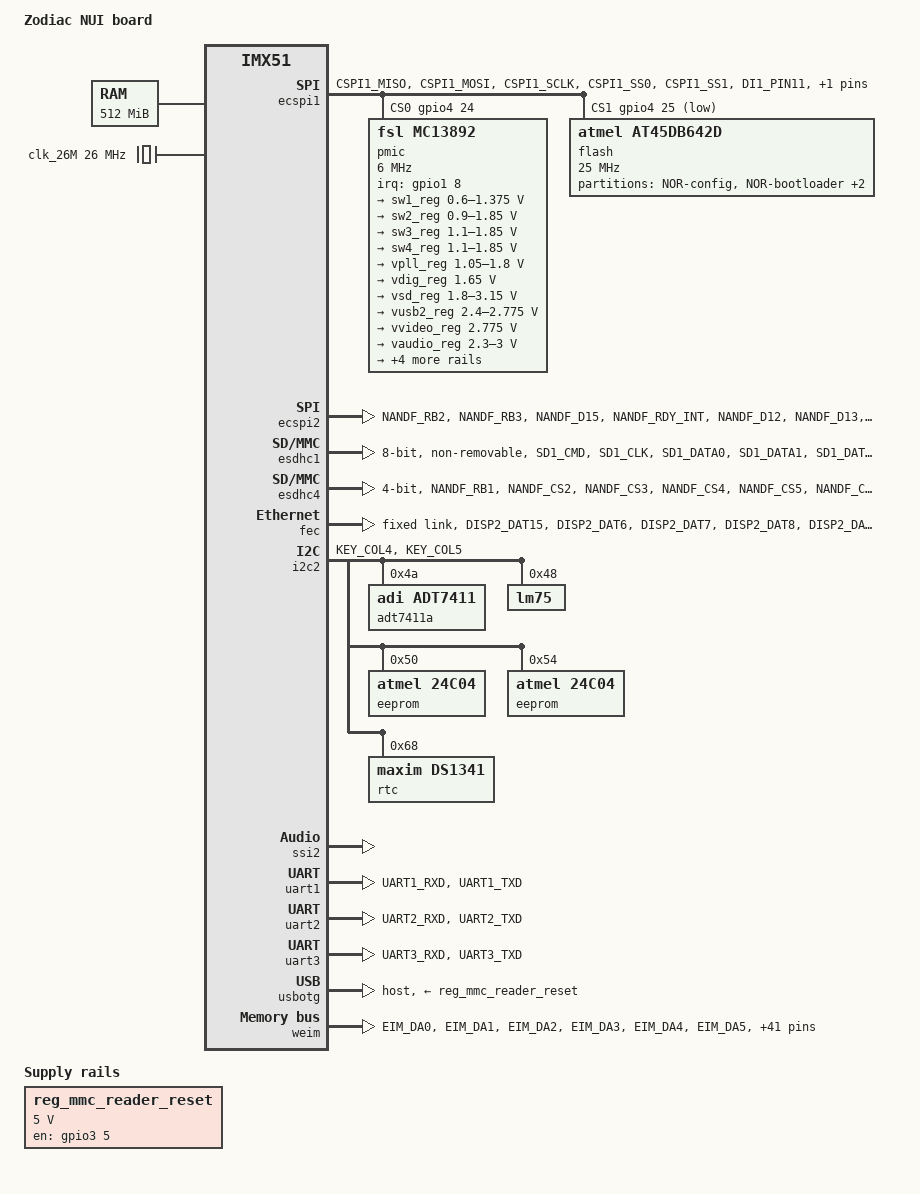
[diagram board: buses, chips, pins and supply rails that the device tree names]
/*
 * Copyright 2011 Freescale Semiconductor, Inc.
 * Copyright 2011 Linaro Ltd.
 *
 * The code contained herein is licensed under the GNU General Public
 * License. You may obtain a copy of the GNU General Public License
 * Version 2 or later at the following locations:
 *
 * http://www.opensource.org/licenses/gpl-license.html
 * http://www.gnu.org/copyleft/gpl.html
 */

/dts-v1/;
#include "imx51.dtsi"

/ {
	model = "Zodiac NUI board";
	compatible = "fsl,imx51-zodiac-nui", "fsl,imx51";

	chosen {
		stdout-path = &uart1;
	};

	memory {
		reg = <0x90000000 0x20000000>;
	};

	clocks {
		ckih1 {
			clock-frequency = <22579200>;
		};

		clk_26M: codec_clock {
			compatible = "fixed-clock";
			reg=<0>;
			#clock-cells = <0>;
			clock-frequency = <26000000>;
			gpios = <&gpio4 26 GPIO_ACTIVE_LOW>;
		};
	};

	regulators {
		compatible = "simple-bus";
		#address-cells = <1>;
		#size-cells = <0>;

		reg_mmc_reader_reset: regulator@0 {
			compatible = "regulator-fixed";
			pinctrl-names = "default";
			pinctrl-0 = <&pinctrl_usbotgreg>;
			reg = <0>;
			regulator-name = "sd_reader_reset";
			regulator-min-microvolt = <5000000>;
			regulator-max-microvolt = <5000000>;
			gpio = <&gpio3 5 GPIO_ACTIVE_HIGH>;
			enable-active-high;
		};
	};

	dsa@0 {
		compatible = "marvell,dsa";
		#address-cells = <2>;
		#size-cells = <0>;

		dsa,ethernet = <&fec>;
		dsa,mii-bus = <&fec_mdio>;

		switch@0 {
			#address-cells = <1>;
			#size-cells = <0>;
			reg = <0 0>;	/* MDIO address 0, switch 0 in tree */

			port@0 {
				reg = <0>;
				label = "netleft";
			};

			port@1 {
				reg = <1>;
				label = "netright";
			};

			port@2 {
				reg = <2>;
				label = "port1";
			};

			port@3 {
				reg = <3>;
				label = "port2";
			};

			port@4 {
				reg = <4>;
				label = "port3";
			};
			port@5 {
				reg = <5>;
				label = "port4";
			};
			port@6 {
				reg = <6>;
				label = "cpu";
			};
		};
       };
};

&ecspi1 {
	pinctrl-names = "default";
	pinctrl-0 = <&pinctrl_ecspi1>;
	fsl,spi-num-chipselects = <4>;
	cs-gpios = <&gpio4 24 GPIO_ACTIVE_HIGH>,
		   <&gpio4 25 GPIO_ACTIVE_LOW>,
		   <&gpio3 0  GPIO_ACTIVE_LOW>,
		   <&gpio1 18 GPIO_ACTIVE_LOW>;
	status = "okay";

	pmic: mc13892@0 {
		compatible = "fsl,mc13892";
		pinctrl-names = "default";
		pinctrl-0 = <&pinctrl_pmic>;
		spi-max-frequency = <6000000>;
		spi-cs-high;
		reg = <0>;
		interrupt-parent = <&gpio1>;
		interrupts = <8 IRQ_TYPE_LEVEL_HIGH>;
		fsl,mc13xxx-uses-rtc;

		regulators {
			sw1_reg: sw1 {
				regulator-min-microvolt = <600000>;
				regulator-max-microvolt = <1375000>;
				regulator-boot-on;
				regulator-always-on;
			};

			sw2_reg: sw2 {
				regulator-min-microvolt = <900000>;
				regulator-max-microvolt = <1850000>;
				regulator-boot-on;
				regulator-always-on;
			};

			sw3_reg: sw3 {
				regulator-min-microvolt = <1100000>;
				regulator-max-microvolt = <1850000>;
				regulator-boot-on;
				regulator-always-on;
			};

			sw4_reg: sw4 {
				regulator-min-microvolt = <1100000>;
				regulator-max-microvolt = <1850000>;
				regulator-boot-on;
				regulator-always-on;
			};

			vpll_reg: vpll {
				regulator-min-microvolt = <1050000>;
				regulator-max-microvolt = <1800000>;
				regulator-boot-on;
				regulator-always-on;
			};

			vdig_reg: vdig {
				regulator-min-microvolt = <1650000>;
				regulator-max-microvolt = <1650000>;
				regulator-boot-on;
			};

			vsd_reg: vsd {
				regulator-min-microvolt = <1800000>;
				regulator-max-microvolt = <3150000>;
			};

			vusb2_reg: vusb2 {
				regulator-min-microvolt = <2400000>;
				regulator-max-microvolt = <2775000>;
				regulator-boot-on;
				regulator-always-on;
			};

			vvideo_reg: vvideo {
				regulator-min-microvolt = <2775000>;
				regulator-max-microvolt = <2775000>;
			};

			vaudio_reg: vaudio {
				regulator-min-microvolt = <2300000>;
				regulator-max-microvolt = <3000000>;
			};

			vcam_reg: vcam {
				regulator-min-microvolt = <2500000>;
				regulator-max-microvolt = <3000000>;
			};

			vgen1_reg: vgen1 {
				regulator-min-microvolt = <1200000>;
				regulator-max-microvolt = <1200000>;
			};

			vgen2_reg: vgen2 {
				regulator-min-microvolt = <1200000>;
				regulator-max-microvolt = <3150000>;
				regulator-always-on;
			};

			vgen3_reg: vgen3 {
				regulator-min-microvolt = <1800000>;
				regulator-max-microvolt = <2900000>;
				regulator-always-on;
			};
		};
	};

	flash: at45db642d@1 {
		#address-cells = <1>;
		#size-cells = <1>;
		compatible = "atmel,at45db642d", "atmel,at45", "atmel,dataflash";
		spi-max-frequency = <25000000>;
		reg = <1>;

		partition@0 {
			label = "NOR-config";
			reg = <0x0 0x00000400>;
			read-only;
		};

		partition@400 {
			label = "NOR-bootloader";
			reg = <0x00000400 0x000FFC00>;
		};

		partition@100000 {
			label = "NOR-kernel";
			reg = <0x00100000 0x00300000>;
		};

		partition@400000 {
			label = "NOR-rootfs";
			reg = <0x00400000 0x00400000>;
		};
	};
};

&ecspi2 {
	pinctrl-names = "default";
	pinctrl-0 = <&pinctrl_ecspi2>;
	fsl,spi-num-chipselects = <4>;
	cs-gpios = <&gpio3 24 GPIO_ACTIVE_LOW>,
		   <&gpio3 28 GPIO_ACTIVE_LOW>,
		   <&gpio3 27 GPIO_ACTIVE_LOW>,
		   <&gpio3 26 GPIO_ACTIVE_LOW>;
	status = "okay";
};

/* eMMC */
&esdhc1 {
	pinctrl-names = "default";
	pinctrl-0 = <&pinctrl_esdhc1>;
	bus-width = <8>;
	non-removable;
	status = "okay";
};

/* u-SD */
&esdhc4 {
	pinctrl-names = "default";
	pinctrl-0 = <&pinctrl_esdhc4>;
	bus-width = <4>;
	cd-gpios = <&gpio4 8 GPIO_ACTIVE_LOW>;
	status = "okay";
};

/* Add eth switch? */
&fec {
	pinctrl-names = "default";
	pinctrl-0 = <&pinctrl_fec>;
	status = "okay";

	fixed-link {
		speed = <1000>;
		full-duplex;
	};

	fec_mdio: mdio {
		/* nope */
	};
};

&i2c2 {
	pinctrl-names = "default";
	pinctrl-0 = <&pinctrl_i2c2>;
	status = "okay";

	adt7411a@4a {
		compatible = "adi,adt7411";
		reg = <0x4a>;
	};
	lm75@48 {
		compatible = "lm75";
		reg = <0x48>;
	};

	eeprom@50 {
		compatible = "atmel,24c04";
		pagesize = <16>;
		reg = <0x50>;
	};

	eeprom@54 {
		compatible = "atmel,24c04";
		pagesize = <16>;
		reg = <0x54>;
	};

	rtc@68 {
		compatible = "maxim,ds1341";
		reg = <0x68>;
	};
};

&ssi2 {
	status = "okay";
};

&uart1 {
	pinctrl-names = "default";
	pinctrl-0 = <&pinctrl_uart1>;
	status = "okay";
};

&uart2 {
	pinctrl-names = "default";
	pinctrl-0 = <&pinctrl_uart2>;
	status = "okay";
};

&uart3 {
	pinctrl-names = "default";
	pinctrl-0 = <&pinctrl_uart3>;
	status = "okay";
};

&usbotg {
	dr_mode = "host";
	disable-over-current;
	phy_type = "utmi_wide";
	vbus-supply = <&reg_mmc_reader_reset>;
	status = "okay";
};

&weim {
	pinctrl-names = "default";
	pinctrl-0 = <&pinctrl_weim>;
	status = "okay";
};

&iomuxc {
	imx51-zodiac-nui {
		/* done */
		pinctrl_pmic: pmicgrp {
			fsl,pins = <
				MX51_PAD_GPIO1_4__GPIO1_4		0x85 /* WDOG_B */
				MX51_PAD_GPIO1_8__GPIO1_8		0xe5 /* IRQ */
			>;
		};

		/* done */
		pinctrl_uart1: uart1grp {
			fsl,pins = <
				MX51_PAD_UART1_RXD__UART1_RXD		0x1c5
				MX51_PAD_UART1_TXD__UART1_TXD		0x1c5
			>;
		};

		/* done */
		pinctrl_uart2: uart2grp {
			fsl,pins = <
				MX51_PAD_UART2_RXD__UART2_RXD		0x1c5
				MX51_PAD_UART2_TXD__UART2_TXD		0x1c5
			>;
		};

		/* done */
		pinctrl_uart3: uart3grp {
			fsl,pins = <
				MX51_PAD_UART3_RXD__UART3_RXD		0x1c5
				MX51_PAD_UART3_TXD__UART3_TXD		0x1c5
			>;
		};

		/* done */
		pinctrl_ecspi1: ecspi1grp {
			fsl,pins = <
				MX51_PAD_CSPI1_MISO__ECSPI1_MISO	0x185
				MX51_PAD_CSPI1_MOSI__ECSPI1_MOSI	0x185
				MX51_PAD_CSPI1_SCLK__ECSPI1_SCLK	0x185
				MX51_PAD_CSPI1_SS0__GPIO4_24		0x85 /* CS0 */
				MX51_PAD_CSPI1_SS1__GPIO4_25		0x85 /* CS1 */
				MX51_PAD_DI1_PIN11__GPIO3_0		0x85 /* CS2 */
				MX51_PAD_USBH1_DATA7__GPIO1_18		0x85 /* CS3 */
			>;
		};

		/* done */
		pinctrl_ecspi2: ecspi2grp {
			fsl,pins = <
				MX51_PAD_NANDF_RB2__ECSPI2_SCLK		0x185
				MX51_PAD_NANDF_RB3__ECSPI2_MISO		0x185
				MX51_PAD_NANDF_D15__ECSPI2_MOSI		0x185
				MX51_PAD_NANDF_RDY_INT__GPIO3_24	0x85 /* CS0 */
				MX51_PAD_NANDF_D12__GPIO3_28		0x85 /* CS1 */
				MX51_PAD_NANDF_D13__GPIO3_27		0x85 /* CS2 */
				MX51_PAD_NANDF_D14__GPIO3_26		0x85 /* CS3 */
			>;
		};

		/* done */
		pinctrl_i2c2: i2c2grp {
			fsl,pins = <
				MX51_PAD_KEY_COL4__I2C2_SCL		0x400001ed
				MX51_PAD_KEY_COL5__I2C2_SDA		0x400001ed
			>;
		};

		/* done */
		pinctrl_esdhc1: esdhc1grp {
			fsl,pins = <
				MX51_PAD_SD1_CMD__SD1_CMD		0x400020d5
				MX51_PAD_SD1_CLK__SD1_CLK		0x20d5
				MX51_PAD_SD1_DATA0__SD1_DATA0		0x20d5
				MX51_PAD_SD1_DATA1__SD1_DATA1		0x20d5
				MX51_PAD_SD1_DATA2__SD1_DATA2		0x20d5
				MX51_PAD_SD1_DATA3__SD1_DATA3		0x20d5
				MX51_PAD_SD2_DATA0__SD1_DAT4		0x20d5
				MX51_PAD_SD2_DATA1__SD1_DAT5		0x20d5
				MX51_PAD_SD2_DATA2__SD1_DAT6		0x20d5
				MX51_PAD_SD2_DATA3__SD1_DAT7		0x20d5
			>;
		};

		/* done */
		pinctrl_esdhc4: esdhc4grp {
			fsl,pins = <
				MX51_PAD_NANDF_RB1__SD4_CMD		0x400020d5
				MX51_PAD_NANDF_CS2__SD4_CLK		0x20d5
				MX51_PAD_NANDF_CS3__SD4_DAT0		0x20d5
				MX51_PAD_NANDF_CS4__SD4_DAT1		0x20d5
				MX51_PAD_NANDF_CS5__SD4_DAT2		0x20d5
				MX51_PAD_NANDF_CS6__SD4_DAT3		0x20d5
				MX51_PAD_NANDF_D0__GPIO4_8		0x100 /* CD */
			>;
		};

		/* done */
		pinctrl_fec: fecgrp {
			fsl,pins = <
				MX51_PAD_DISP2_DAT15__FEC_TDATA0	0x00002004
				MX51_PAD_DISP2_DAT6__FEC_TDATA1		0x00002004
				MX51_PAD_DISP2_DAT7__FEC_TDATA2		0x00002004
				MX51_PAD_DISP2_DAT8__FEC_TDATA3		0x00002004
				MX51_PAD_DISP2_DAT9__FEC_TX_EN		0x00002004
				MX51_PAD_DISP2_DAT10__FEC_COL		0x00000180
				MX51_PAD_DISP2_DAT11__FEC_RX_CLK	0x00000180
				MX51_PAD_DISP2_DAT12__FEC_RX_DV		0x000020a4
				MX51_PAD_DISP2_DAT13__FEC_TX_CLK	0x00002180
				MX51_PAD_DISP2_DAT14__FEC_RDATA0	0x00002180
				MX51_PAD_DI2_DISP_CLK__FEC_RDATA1	0x00000085
				MX51_PAD_DI_GP4__FEC_RDATA2		0x00000085
				MX51_PAD_DISP2_DAT0__FEC_RDATA3		0x00000085
				MX51_PAD_DI2_PIN2__FEC_MDC		0x00002004
				MX51_PAD_DI2_PIN3__FEC_MDIO		0x000001f5
				MX51_PAD_DI2_PIN4__FEC_CRS		0x00000180
				/* Phy Reset? */
			>;
		};

		/* done */
		pinctrl_weim: weimgrp {
			fsl,pins = <
				MX51_PAD_EIM_DA0__EIM_DA0		0x80000000
				MX51_PAD_EIM_DA1__EIM_DA1		0x80000000
				MX51_PAD_EIM_DA2__EIM_DA2		0x80000000
				MX51_PAD_EIM_DA3__EIM_DA3		0x80000000
				MX51_PAD_EIM_DA4__EIM_DA4		0x80000000
				MX51_PAD_EIM_DA5__EIM_DA5		0x80000000
				MX51_PAD_EIM_DA6__EIM_DA6		0x80000000
				MX51_PAD_EIM_DA7__EIM_DA7		0x80000000
				MX51_PAD_EIM_DA8__EIM_DA8		0x80000000
				MX51_PAD_EIM_DA9__EIM_DA9		0x80000000
				MX51_PAD_EIM_DA10__EIM_DA10		0x80000000
				MX51_PAD_EIM_DA11__EIM_DA11		0x80000000
				MX51_PAD_EIM_DA12__EIM_DA12		0x80000000
				MX51_PAD_EIM_DA13__EIM_DA13		0x80000000
				MX51_PAD_EIM_DA14__EIM_DA14		0x80000000
				MX51_PAD_EIM_DA15__EIM_DA15		0x80000000
				MX51_PAD_EIM_D16__EIM_D16		0x80000000
				MX51_PAD_EIM_D17__EIM_D17		0x80000000
				MX51_PAD_EIM_D18__EIM_D18		0x80000000
				MX51_PAD_EIM_D19__EIM_D19		0x80000000
				MX51_PAD_EIM_D20__EIM_D20		0x80000000
				MX51_PAD_EIM_D21__EIM_D21		0x80000000
				MX51_PAD_EIM_D22__EIM_D22		0x80000000
				MX51_PAD_EIM_D23__EIM_D23		0x80000000
				MX51_PAD_EIM_D24__EIM_D24		0x80000000
				MX51_PAD_EIM_D25__EIM_D25		0x80000000
				MX51_PAD_EIM_D26__EIM_D26		0x80000000
				MX51_PAD_EIM_D28__EIM_D28		0x80000000
				MX51_PAD_EIM_D29__EIM_D29		0x80000000
				MX51_PAD_EIM_D30__EIM_D30		0x80000000
				MX51_PAD_EIM_D31__EIM_D31		0x80000000
				MX51_PAD_EIM_A16__EIM_A16		0x80000000
				MX51_PAD_EIM_A17__EIM_A17		0x80000000
				MX51_PAD_EIM_A18__EIM_A18		0x80000000
				MX51_PAD_EIM_A19__EIM_A19		0x80000000
				MX51_PAD_EIM_A20__EIM_A20		0x80000000
				MX51_PAD_EIM_A21__EIM_A21		0x80000000
				MX51_PAD_EIM_A22__EIM_A22		0x80000000
				MX51_PAD_EIM_A23__EIM_A23		0x80000000
				MX51_PAD_EIM_A24__EIM_A24		0x80000000
				MX51_PAD_EIM_A25__EIM_A25		0x80000000
				MX51_PAD_EIM_A26__EIM_A26		0x80000000
				MX51_PAD_EIM_EB0__EIM_EB0		0x80000000
				MX51_PAD_EIM_EB1__EIM_EB1		0x80000000
				MX51_PAD_EIM_OE__EIM_OE			0x80000000
				MX51_PAD_EIM_CS0__EIM_CS0		0x80000000
				MX51_PAD_EIM_CS1__EIM_CS1		0x80000000
			>;
		};

		/* done */
		pinctrl_usbotgreg: usbotgreggrp {
			fsl,pins = <
				MX51_PAD_DISPB2_SER_DIN__GPIO3_5	0x85
			>;
		};

		/* gpio, tie to? check */
		pinctrl_gpio: miscgpiosgrp {
			fsl,pins = <
				/* EIM as testpoint */
				MX51_PAD_EIM_A27__GPIO2_21		0x5

				/* GPIO_2_27 .. GPIO_2_30 */
				MX51_PAD_EIM_CS2__GPIO2_27		0x5
				MX51_PAD_EIM_CS3__GPIO2_28		0x5
				MX51_PAD_EIM_CS4__GPIO2_29		0x5
				MX51_PAD_EIM_CS5__GPIO2_30		0x5

				/* INT 5 */
				MX51_PAD_EIM_DTACK__GPIO2_31		0x5

				/* MCU_I2C_SCL and MCU_I2C_SDA */
				MX51_PAD_USBH1_DATA0__GPIO1_11		0x5
				MX51_PAD_USBH1_DATA1__GPIO1_12		0x5

				/* Pinstrap1-7 */
				MX51_PAD_USBH1_DATA2__GPIO1_13		0x5
				MX51_PAD_USBH1_DATA3__GPIO1_14		0x5
				MX51_PAD_USBH1_DATA4__GPIO1_15		0x5
				MX51_PAD_USBH1_DATA5__GPIO1_16		0x5
				MX51_PAD_USBH1_DATA6__GPIO1_17		0x5
				MX51_PAD_OWIRE_LINE__GPIO1_24		0x5
				MX51_PAD_USBH1_CLK__GPIO1_25		0x5

				/* System type 0..3 */
				MX51_PAD_NANDF_D2__GPIO4_6		0x5
				MX51_PAD_NANDF_D3__GPIO4_5		0x5
				MX51_PAD_NANDF_D4__GPIO4_4		0x5
				MX51_PAD_NANDF_D5__GPIO4_3		0x5

				/* CTRL 0..4 */
				MX51_PAD_CSI1_D8__GPIO3_12		0x5
				MX51_PAD_CSI1_D9__GPIO3_13		0x5
				MX51_PAD_CSI1_VSYNC__GPIO3_14		0x5
				MX51_PAD_CSI1_HSYNC__GPIO3_15		0x5
				MX51_PAD_CSI2_D12__GPIO4_9		0x5

				/* INT 0..5 */
				MX51_PAD_CSI2_D13__GPIO4_10		0x5
				MX51_PAD_CSI2_D18__GPIO4_11		0x5
				MX51_PAD_CSI2_D19__GPIO4_12		0x5
				MX51_PAD_CSI2_VSYNC__GPIO4_13		0x5
				MX51_PAD_CSI2_HSYNC__GPIO4_14		0x5
				MX51_PAD_CSI2_PIXCLK__GPIO4_15		0x5

				/* SW_INT and n.u. */
				MX51_PAD_AUD3_BB_CK__GPIO4_20		0x5
				MX51_PAD_AUD3_BB_FS__GPIO4_21		0x5

				/* MX51_PAD_CSPI1_RDY__GPIO4_26 */
				MX51_PAD_CSPI1_RDY__GPIO4_26		0x5

				/* SD4 Card Detect */
				MX51_PAD_NANDF_D0__GPIO4_8		0x5

				/* 3x n.u. */
				MX51_PAD_DISPB2_SER_DIO__GPIO3_6	0x5
				MX51_PAD_DISPB2_SER_CLK__GPIO3_7	0x5
				MX51_PAD_DISPB2_SER_RS__GPIO3_8		0x5

				/* PMIC_IRQ - not used */
				MX51_PAD_PMIC_INT_REQ__PMIC_INT_REQ	0x5

				/* HOST_INTERRUPT_B, n.u., WDOG_B, INT_FROM_PMIC */
				MX51_PAD_GPIO1_2__GPIO1_2		0x5
				MX51_PAD_GPIO1_3__GPIO1_3		0x5
			>;
		};
	};
};
